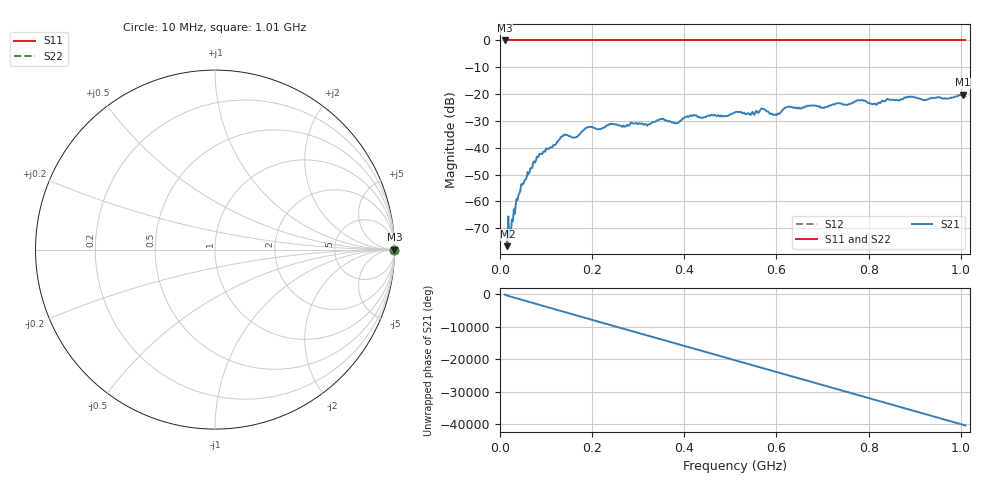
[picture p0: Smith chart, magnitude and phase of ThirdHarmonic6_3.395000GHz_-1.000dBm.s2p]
! 8/17/2025 10:49:50 AM
! C:\ANRITSUVNA\TEMP\TEMP.S2P
! CHANNEL.1
! TR.MEASUREMENT
! RAW.DATA
! RF.CORRECTION.OFF
! AVERAGING.OFF
! IF.BANDWIDTH: 5KHZ
! SWEEPTYPE:  FREQ.SWEEP(Linear)
! Reference Plane Port Info
! PORT:  PORT1  PORT2
! DISTANCE:  0  m  0  m
! TIME:  0  s  0  s
! PHASE.OFFSET:  0  deg.  0  deg.
! LOSS:  0  dB  0  dB
! REF.LOSS:  0  dB  0  dB
! REF.FREQ:  0  Hz  0  Hz
! Power Info
! POWER:  -20  dBm  -20  dBm
! EFF.POWER:  -20  dBm  -20  dBm
! SOURCE.ATTEN:  0  dB  0  dB
! TEST.ATTEN:  0  dB  0  dB
# GHZ S RI R 50.0
! FREQ.GHZ  S11RE  S11IM  S21RE  S21IM  S12RE  S12IM  S22RE  S22IM
!; PortSelection: Port_12
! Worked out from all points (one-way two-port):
!   501 points, 10 MHz to 1.01 GHz, reference 50 ohm
!   highest |S21| = -20.18 dB at 1.004 GHz (marker M1); lowest = -76.7 dB at 16 MHz (marker M2)
!   lowest |S11| = 0.0 dB at 10 MHz (marker M3)
!   |S11| at or under -10 dB: nowhere
!   |S22| runs from 0.0 to 0.0 dB; largest |S21 - S12| = 1.1
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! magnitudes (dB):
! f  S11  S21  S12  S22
! 10 MHz  0.0  -72.1  0.0  0.0
! 16 MHz  0.0  -76.7  0.0  0.0
! 24 MHz  0.0  -70.4  0.0  0.0
! 44 MHz  0.0  -56.2  0.0  0.0
! 84 MHz  0.0  -43.1  0.0  0.0
! 136 MHz  0.0  -35.7  0.0  0.0
! 164 MHz  0.0  -36.2  0.0  0.0
! 178 MHz  0.0  -33.9  0.0  0.0
! 344 MHz  0.0  -29.8  0.0  0.0
! 382 MHz  0.0  -30.8  0.0  0.0
! 416 MHz  0.0  -28.2  0.0  0.0
! 510 MHz  0.0  -26.8  0.0  0.0
! 548 MHz  0.0  -26.6  0.0  0.0
! 570 MHz  0.0  -25.5  0.0  0.0
! 596 MHz  0.0  -27.6  0.0  0.0
! 624 MHz  0.0  -24.8  0.0  0.0
! 678 MHz  0.0  -24.3  0.0  0.0
! 782 MHz  0.0  -22.3  0.0  0.0
! 814 MHz  0.0  -23.6  0.0  0.0
! 844 MHz  0.0  -22.1  0.0  0.0
! 1.004 GHz  0.0  -20.2  0.0  0.0
! 1.01 GHz  0.0  -20.9  0.0  0.0
